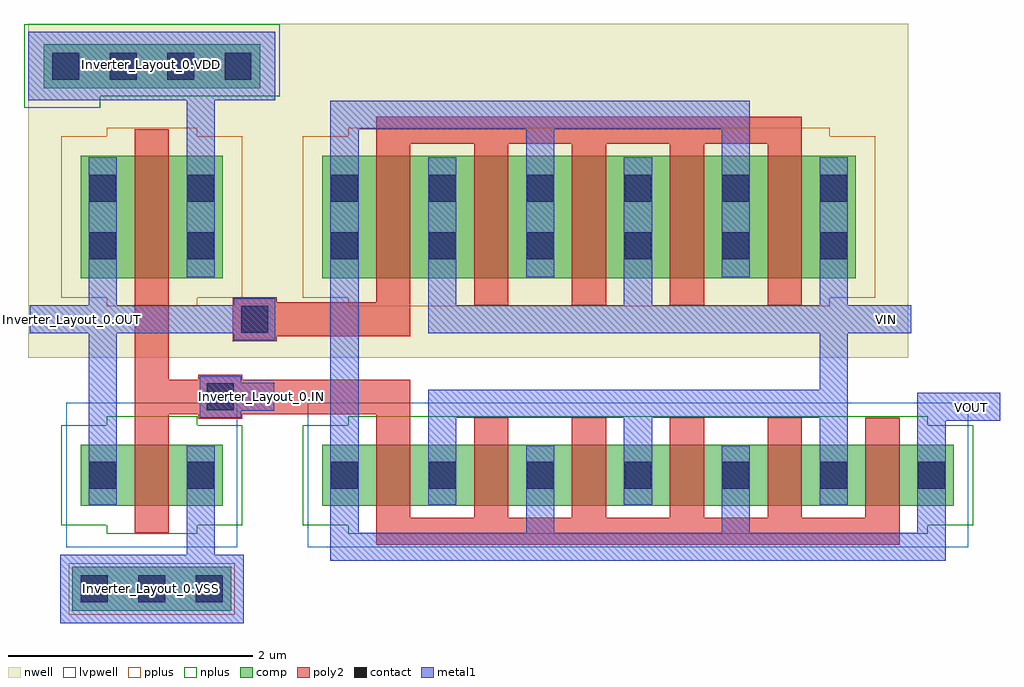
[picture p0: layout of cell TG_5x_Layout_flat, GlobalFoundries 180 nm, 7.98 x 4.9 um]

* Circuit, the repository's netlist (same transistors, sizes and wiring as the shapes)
* NGSPICE file created from TG_5x_Layout.ext - technology: gf180mcuC

.subckt nmos_3p3_FGGST2 a_n52_n50# a_n516_n50# a_428_n50# a_n428_n94# a_n212_n50#
+ a_n372_n50# a_52_n94# a_108_n50# a_268_n50# a_n108_n94# a_n268_n94# a_212_n94# a_372_n94#
+ VSUBS
X0 a_108_n50# a_52_n94# a_n52_n50# VSUBS nfet_03v3 ad=0.13p pd=1.02u as=0.13p ps=1.02u w=0.5u l=0.28u
X1 a_268_n50# a_212_n94# a_108_n50# VSUBS nfet_03v3 ad=0.13p pd=1.02u as=0.13p ps=1.02u w=0.5u l=0.28u
X2 a_n372_n50# a_n428_n94# a_n516_n50# VSUBS nfet_03v3 ad=0.13p pd=1.02u as=0.22p ps=1.88u w=0.5u l=0.28u
X3 a_428_n50# a_372_n94# a_268_n50# VSUBS nfet_03v3 ad=0.22p pd=1.88u as=0.13p ps=1.02u w=0.5u l=0.28u
X4 a_n52_n50# a_n108_n94# a_n212_n50# VSUBS nfet_03v3 ad=0.13p pd=1.02u as=0.13p ps=1.02u w=0.5u l=0.28u
X5 a_n212_n50# a_n268_n94# a_n372_n50# VSUBS nfet_03v3 ad=0.13p pd=1.02u as=0.13p ps=1.02u w=0.5u l=0.28u
.ends

.subckt pmos_3p3_MN2VAR a_n292_n100# a_28_n100# a_n28_n144# a_132_n144# a_188_n100#
+ w_n522_n230# a_n188_n144# a_292_n144# a_348_n100# a_n348_n144# a_n436_n100# a_n132_n100#
X0 a_n132_n100# a_n188_n144# a_n292_n100# w_n522_n230# pfet_03v3 ad=0.26p pd=1.52u as=0.26p ps=1.52u w=1u l=0.28u
X1 a_188_n100# a_132_n144# a_28_n100# w_n522_n230# pfet_03v3 ad=0.26p pd=1.52u as=0.26p ps=1.52u w=1u l=0.28u
X2 a_n292_n100# a_n348_n144# a_n436_n100# w_n522_n230# pfet_03v3 ad=0.26p pd=1.52u as=0.44p ps=2.88u w=1u l=0.28u
X3 a_348_n100# a_292_n144# a_188_n100# w_n522_n230# pfet_03v3 ad=0.44p pd=2.88u as=0.26p ps=1.52u w=1u l=0.28u
X4 a_28_n100# a_n28_n144# a_n132_n100# w_n522_n230# pfet_03v3 ad=0.26p pd=1.52u as=0.26p ps=1.52u w=1u l=0.28u
.ends

.subckt nmos_3p3_GGGST2 a_n28_n94# a_n116_n50# a_28_n50# VSUBS
X0 a_28_n50# a_n28_n94# a_n116_n50# VSUBS nfet_03v3 ad=0.22p pd=1.88u as=0.22p ps=1.88u w=0.5u l=0.28u
.ends

.subckt pmos_3p3_MNVUAR w_n202_n230# a_28_n100# a_n28_n144# a_n116_n100#
X0 a_28_n100# a_n28_n144# a_n116_n100# w_n202_n230# pfet_03v3 ad=0.44p pd=2.88u as=0.44p ps=2.88u w=1u l=0.28u
.ends

.subckt Inverter_Layout IN OUT VSS VDD
Xnmos_3p3_GGGST2_0 IN VSS OUT VSS nmos_3p3_GGGST2
Xpmos_3p3_MNVUAR_0 VDD OUT IN VDD pmos_3p3_MNVUAR
.ends

.subckt TG_5x_Layout VIN VOUT VSS VDD CLK
Xnmos_3p3_FGGST2_0 VIN VOUT VOUT CLK VOUT VIN CLK VOUT VIN CLK CLK CLK CLK VSS nmos_3p3_FGGST2
Xpmos_3p3_MN2VAR_0 VIN VIN Inverter_Layout_0/OUT Inverter_Layout_0/OUT VOUT VDD Inverter_Layout_0/OUT
+ Inverter_Layout_0/OUT VIN Inverter_Layout_0/OUT VOUT VOUT pmos_3p3_MN2VAR
XInverter_Layout_0 CLK Inverter_Layout_0/OUT VSS VDD Inverter_Layout
.ends

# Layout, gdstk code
import gdstk
lib = gdstk.Library(unit=1e-6, precision=1e-09)
def R(c, l, rs):  # rectangles x0, y0, x1, y1
    for r in rs: c.add(gdstk.rectangle(r[:2], r[2:], *l))
def A(c, l, x, y, w, h, nx, ny, dx, dy):  # array of equal rectangles
    R(c, l, [(x+i*dx, y+j*dy, x+i*dx+w, y+j*dy+h) for i in range(nx) for j in range(ny)])
nwell = (21, 0)
comp = (22, 0)
poly2 = (30, 0)
pplus = (31, 0)
nplus = (32, 0)
contact = (33, 0)
metal1 = (34, 0)
lvpwell = (204, 0)

tg_5x_layout_flat = lib.new_cell('TG_5x_Layout_flat')
R(tg_5x_layout_flat, nwell, [(-0.535,2.035,6.66,4.765)])
R(tg_5x_layout_flat, comp, [(-0.175,-0.035,1.125,0.325), (-0.105,0.825,1.055,1.325), (1.87,0.825,7.03,1.325), (-0.105,2.685,1.055,3.685), (1.87,2.685,6.23,3.685), (-0.41,4.24,1.36,4.6)])
A(tg_5x_layout_flat, poly2, 3.11, 0.725, 0.28, 0.82, 5, 1, 0.8, 0)
A(tg_5x_layout_flat, poly2, 3.11, 2.465, 0.28, 1.32, 4, 1, 0.8, 0)
R(tg_5x_layout_flat, poly2, [(2.31,0.505,6.59,0.725), (0.335,0.605,0.615,1.575), (2.31,0.725,2.59,1.575), (0.855,1.535,1.215,1.575), (0.335,1.575,2.59,1.855), (0.335,1.855,0.615,3.905), (0.855,1.855,1.215,1.895), (1.135,2.17,1.495,2.21), (1.135,2.21,2.59,2.49), (1.135,2.49,1.495,2.53), (2.31,2.49,2.59,3.785), (2.31,3.785,5.79,4.005)])
R(tg_5x_layout_flat, pplus, [(-0.205,-0.065,1.155,0.355), (0.105,2.455,0.845,2.525), (2.08,2.455,6.02,2.525), (-0.265,2.525,1.215,3.845), (1.71,2.525,6.39,3.845), (0.105,3.845,0.845,3.915), (2.08,3.845,6.02,3.915)])
R(tg_5x_layout_flat, nplus, [(0.105,0.595,0.845,0.665), (2.08,0.595,6.82,0.665), (-0.265,0.665,1.215,1.485), (1.71,0.665,7.19,1.485), (0.105,1.485,0.845,1.555), (2.08,1.485,6.82,1.555), (-0.57,4.08,0.055,4.175), (-0.57,4.175,1.52,4.76)])
A(tg_5x_layout_flat, contact, -0.105, 0.035, 0.22, 0.22, 3, 1, 0.47, 0)
A(tg_5x_layout_flat, contact, 1.94, 0.965, 0.22, 0.22, 7, 1, 0.8, 0)
A(tg_5x_layout_flat, contact, 1.94, 2.84, 0.22, 0.22, 6, 2, 0.8, 0.47)
A(tg_5x_layout_flat, contact, -0.34, 4.31, 0.22, 0.22, 4, 1, 0.47, 0)
R(tg_5x_layout_flat, contact, [(-0.035,0.965,0.185,1.185), (0.765,0.965,0.985,1.185), (0.925,1.605,1.145,1.825), (1.205,2.24,1.425,2.46), (-0.035,2.84,0.185,3.06), (0.765,2.84,0.985,3.06), (-0.035,3.31,0.185,3.53), (0.765,3.31,0.985,3.53)])
A(tg_5x_layout_flat, metal1, 2.735, 0.835, 0.23, 0.71, 3, 1, 1.6, 0)
A(tg_5x_layout_flat, metal1, 2.735, 2.465, 0.23, 1.21, 3, 1, 1.6, 0)
R(tg_5x_layout_flat, metal1, [(-0.275,-0.135,1.225,0.425), (1.935,0.375,6.965,0.605), (0.76,0.425,0.99,1.315), (1.935,0.605,2.165,3.905), (3.535,0.605,3.765,1.315), (5.135,0.605,5.365,1.315), (6.735,0.605,6.965,1.52), (-0.04,0.835,0.19,2.235), (6.735,1.52,7.41,1.75), (0.865,1.545,1.205,1.6), (2.735,1.545,6.165,1.775), (0.865,1.6,1.475,1.83), (5.935,1.775,6.165,2.235), (0.865,1.83,1.205,1.885), (1.145,2.18,1.485,2.235), (-0.525,2.235,1.485,2.465), (2.735,2.235,6.685,2.465), (-0.04,2.465,0.19,3.675), (1.145,2.465,1.485,2.52), (0.76,2.695,0.99,4.14), (3.535,2.695,3.765,3.905), (5.135,2.695,5.365,3.905), (1.935,3.905,5.365,4.135), (-0.535,4.14,1.485,4.7)])
R(tg_5x_layout_flat, lvpwell, [(-0.225,0.485,1.175,1.665), (1.75,0.485,7.15,1.665)])
tg_5x_layout_flat.add(gdstk.Label('Inverter_Layout_0.VSS', (0.475,0.145), layer=34, texttype=0))
tg_5x_layout_flat.add(gdstk.Label('Inverter_Layout_0.VDD', (0.475,4.435), layer=34, texttype=0))
tg_5x_layout_flat.add(gdstk.Label('Inverter_Layout_0.IN', (1.375,1.715), layer=34, texttype=0))
tg_5x_layout_flat.add(gdstk.Label('Inverter_Layout_0.OUT', (-0.22,2.35), layer=34, texttype=0))
tg_5x_layout_flat.add(gdstk.Label('VIN', (6.48,2.35), layer=34, texttype=10))
tg_5x_layout_flat.add(gdstk.Label('VOUT', (7.18,1.63), layer=34, texttype=10))
tg_5x_layout_flat.add(gdstk.Label('VSS', (0.475,0.145), layer=34, texttype=10))
tg_5x_layout_flat.add(gdstk.Label('VDD', (0.475,4.435), layer=34, texttype=10))
tg_5x_layout_flat.add(gdstk.Label('CLK', (1.035,1.715), layer=30, texttype=10))

lib.write_gds('TG_5x_Layout_flat.gds')
